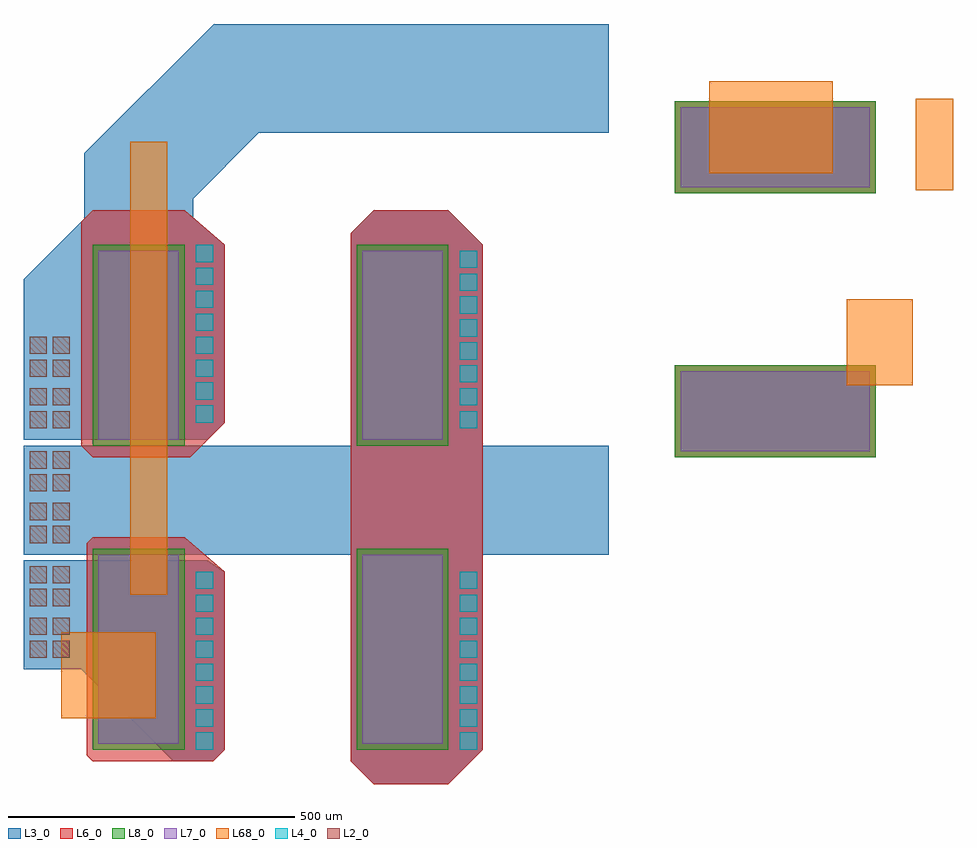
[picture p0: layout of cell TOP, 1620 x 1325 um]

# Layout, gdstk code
from math import pi, radians
import gdstk
lib = gdstk.Library(unit=1e-6, precision=1e-06)
def R(c, l, rs):  # rectangles x0, y0, x1, y1
    for r in rs: c.add(gdstk.rectangle(r[:2], r[2:], *l))
def A(c, l, x, y, w, h, nx, ny, dx, dy):  # array of equal rectangles
    R(c, l, [(x+i*dx, y+j*dy, x+i*dx+w, y+j*dy+h) for i in range(nx) for j in range(ny)])
def P(c, l, *ps):  # polygons
    for p in ps: c.add(gdstk.Polygon(p, *l))
L2_0 = (2, 0)
L3_0 = (3, 0)
L4_0 = (4, 0)
L6_0 = (6, 0)
L7_0 = (7, 0)
L8_0 = (8, 0)
L68_0 = (68, 0)

c_0201_smd = lib.new_cell('0201_SMD')
R(c_0201_smd, L6_0, [(0,0,160,350), (460,0,620,350)])
R(c_0201_smd, L7_0, [(10,10,150,340), (470,10,610,340)])
R(c_0201_smd, L8_0, [(0,0,160,350), (460,0,620,350)])

obelix = lib.new_cell('obelix')
R(obelix, L68_0, [(0,0,165,150), (120,215,185,1005), (1370,580,1485,730), (1490,920,1555,1080), (1130,950,1345,1110)])

top = lib.new_cell('TOP')
R(top, L2_0, [(10,220,40,250), (50,220,80,250), (10,260,40,290), (50,260,80,290), (10,310,40,340), (50,310,80,340), (10,350,40,380), (50,350,80,380), (10,420,40,450), (50,420,80,450), (10,460,40,490), (50,460,80,490), (10,510,40,540), (50,510,80,540), (10,550,40,580), (50,550,80,580), (10,620,40,650), (50,620,80,650), (10,660,40,690), (50,660,80,690), (10,710,40,740), (50,710,80,740), (10,750,40,780), (50,750,80,780)])
A(top, L3_0, 0, 200, 90, 190, 1, 3, 0, 200)
R(top, L3_0, [(0,400,1020,590)])
P(top, L3_0, [(260,40),(100,200),(0,200),(0,390),(320,390),(350,370),(350,60),(330,40)],
  [(0,600),(0,880),(120,1000),(280,1000),(350,940),(350,630),(320,600)],
  [(610,0),(570,40),(570,960),(610,1000),(740,1000),(800,940),(800,60),(740,0)])
A(top, L4_0, 300, 60, 30, 30, 1, 8, 0, 40)
A(top, L4_0, 760, 60, 30, 30, 1, 8, 0, 40)
A(top, L4_0, 760, 620, 30, 30, 1, 8, 0, 40)
A(top, L4_0, 300, 630, 30, 30, 1, 8, 0, 40)
R(top, L6_0, [(580,60,740,410), (580,590,740,940)])
P(top, L6_0, [(120,40),(110,50),(110,420),(120,430),(280,430),(350,370),(350,60),(330,40)],
  [(120,570),(100,590),(100,980),(120,1000),(280,1000),(350,940),(350,630),(290,570)],
  [(610,0),(570,40),(570,960),(610,1000),(740,1000),(800,940),(800,60),(740,0)])
top.add(gdstk.FlexPath([(200,830),(200,1060),(370,1230),(1020,1230)], 190, ends="flush", simple_path=True, layer=3, datatype=0))  # L3_0
r = gdstk.Reference(c_0201_smd, (120,60)); r.repetition = gdstk.Repetition(1, 2, v1=(0,0), v2=(0,530)); top.add(r)
top.add(gdstk.Reference(c_0201_smd, (1485,570), rotation=pi/2))
top.add(gdstk.Reference(obelix, (65,115)))

lib.write_gds('TOP.gds')
